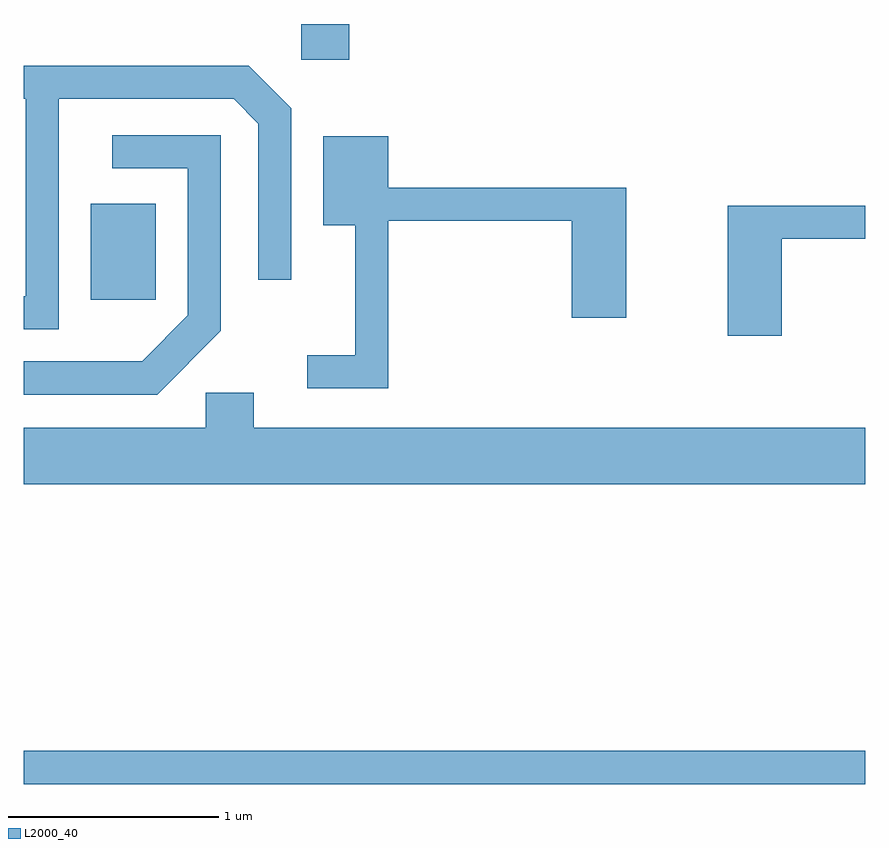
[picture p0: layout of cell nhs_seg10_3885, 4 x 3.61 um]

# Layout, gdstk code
import gdstk
lib = gdstk.Library(unit=1e-6, precision=1e-09)
def R(c, l, rs):  # rectangles x0, y0, x1, y1
    for r in rs: c.add(gdstk.rectangle(r[:2], r[2:], *l))
def P(c, l, *ps):  # polygons
    for p in ps: c.add(gdstk.Polygon(p, *l))
L2000_40 = (2000, 40)

nhs_seg10_3885 = lib.new_cell('nhs_seg10_3885')
R(nhs_seg10_3885, L2000_40, [(299.611,2136.911,303.611,2137.069), (299.931,2139.211,300.239,2139.669), (300.931,2140.351,301.159,2140.522)])
P(nhs_seg10_3885, L2000_40, [(299.779,2140.166),(300.609,2140.166),(300.726,2140.049),(300.726,2139.308),(300.884,2139.308),(300.884,2140.122),(300.682,2140.324),(299.611,2140.324),(299.611,2140.166),(299.621,2140.166),(299.621,2139.229),(299.611,2139.229),(299.611,2139.071),(299.779,2139.071)],
  [(300.549,2139.064),(300.549,2139.994),(300.033,2139.994),(300.033,2139.836),(300.391,2139.836),(300.391,2139.137),(300.174,2138.919),(299.611,2138.919),(299.611,2138.761),(300.247,2138.761)],
  [(301.344,2139.586),(302.216,2139.586),(302.216,2139.126),(302.474,2139.126),(302.474,2139.744),(301.344,2139.744),(301.344,2139.989),(301.036,2139.989),(301.036,2139.566),(301.186,2139.566),(301.186,2138.949),(300.958,2138.949),(300.958,2138.791),(301.344,2138.791)],
  [(303.214,2139.501),(303.611,2139.501),(303.611,2139.659),(302.956,2139.659),(302.956,2139.041),(303.214,2139.041)],
  [(303.611,2138.604),(300.704,2138.604),(300.704,2138.769),(300.476,2138.769),(300.476,2138.604),(299.611,2138.604),(299.611,2138.336),(303.611,2138.336)])

lib.write_gds('nhs_seg10_3885.gds')
